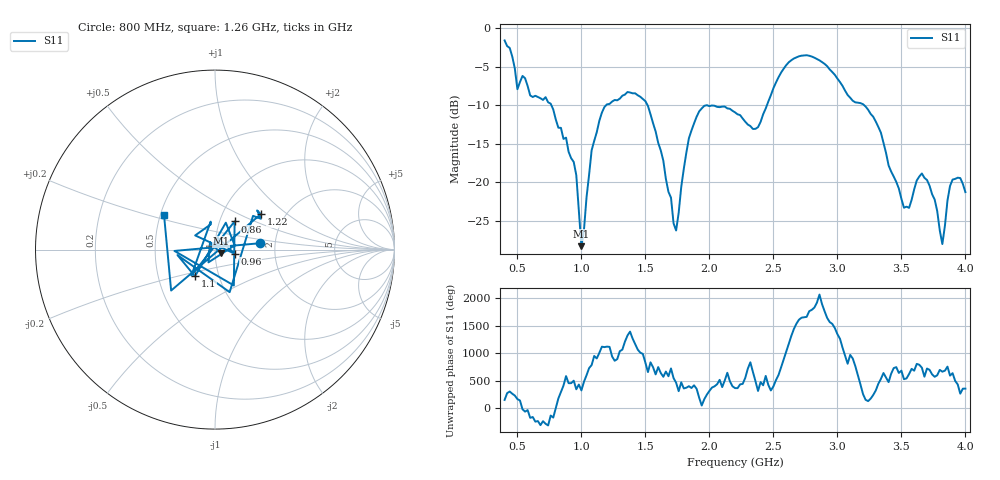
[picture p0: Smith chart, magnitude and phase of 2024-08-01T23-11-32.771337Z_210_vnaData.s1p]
!Created with skrf (http://scikit-rf.org).
# Hz S RI R 50.0
!freq ReS11 ImS11
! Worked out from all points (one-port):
!   181 points, 400 MHz to 4 GHz, reference 50 ohm
!   lowest |S11| = -28.3 dB at 1 GHz (marker M1), VSWR 1.08, Z = 53.3 - j2.18 ohm
!   |S11| at or under -10 dB: 1.517 GHz to 1.977 GHz (460 MHz wide, 26.3 % of centre); 1.982 GHz to 2.449 GHz (467.5 MHz wide, 21.1 % of centre); 3.209 GHz to end of sweep (the widest 3 of 4)
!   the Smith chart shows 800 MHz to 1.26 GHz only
!   S11 on the Smith chart (normalised r, x): 800 MHz: 1.67, +0.13; 860 MHz: 1.18, +0.38; 960 MHz: 1.24, -0.06; 1.1 GHz: 0.77, -0.24; 1.22 GHz: 1.51, +0.66; 1.26 GHz: 0.52, +0.23
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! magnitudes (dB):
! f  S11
! 400 MHz  -1.6
! 500 MHz  -7.9
! 540 MHz  -6.2
! 800 MHz  -11.9
! 860 MHz  -14.4
! 960 MHz  -19.1
! 1 GHz  -28.3
! 1.1 GHz  -14.6
! 1.22 GHz  -9.8
! 1.26 GHz  -9.3
! 1.3 GHz  -9.1
! 1.52 GHz  -10.1
! 1.72 GHz  -25.3
! 1.76 GHz  -23.9
! 1.84 GHz  -14.3
! 1.92 GHz  -10.8
! 2.2 GHz  -10.9
! 2.38 GHz  -12.8
! 2.66 GHz  -3.9
! 2.9 GHz  -4.6
! 3.1 GHz  -9.0
! 3.28 GHz  -11.5
! 3.56 GHz  -23.3
! 3.66 GHz  -18.8
! 3.76 GHz  -22.2
! 3.82 GHz  -28.0
! 3.9 GHz  -19.6
! 4 GHz  -21.3
